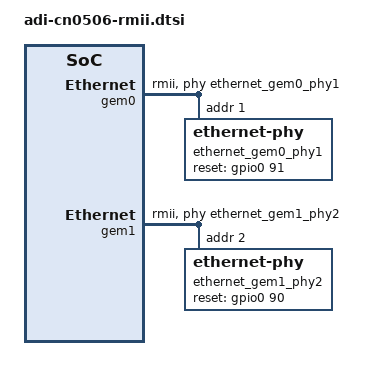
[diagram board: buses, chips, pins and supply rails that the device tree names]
#include <dt-bindings/gpio/gpio.h>

&gem0 {
	status = "okay";
	phy-mode = "rmii";
	phy-handle = <&ethernet_gem0_phy1>;
	/* Override compatible string to configure a MAC that works
	 * at 100 Mbit. Otherwise gigabit can be advertised by the
	 * PHY after matching MAC link caps with PHY link caps,
	 * even though, the design won't be able to actually support it
	 */
	compatible = "cdns,macb";

	clocks = <&clkc 30>, <&fmc_mii_clk1>, <&clkc 13>;
	clock-names = "pclk", "hclk", "tx_clk";

	ethernet_gem0_phy1: ethernet-phy@1 {
		reg = <1>;
		reset-gpios = <&gpio0 91 GPIO_ACTIVE_HIGH>;
		reset-assert-us = <20>; /* 10 us minimum */
		reset-deassert-us = <10000>; /* 5 ms minimum */
	};
};

&gem1 {
	status = "okay";
	phy-mode = "rmii";
	phy-handle = <&ethernet_gem1_phy2>;
	/* Override compatible string to configure a MAC that works
	 * at 100 Mbit. Otherwise gigabit can be advertised by the
	 * PHY after matching MAC link caps with PHY link caps,
	 * even though, the design won't be able to actually support it
	 */
	compatible = "cdns,macb";

	clocks = <&clkc 31>, <&fmc_mii_clk2>, <&clkc 14>;
	clock-names = "pclk", "hclk", "tx_clk";

	ethernet_gem1_phy2: ethernet-phy@2 {
		reg = <2>;
		reset-gpios = <&gpio0 90 GPIO_ACTIVE_HIGH>;
		reset-assert-us = <20>; /* 10 us minimum */
		reset-deassert-us = <10000>; /* 5 ms minimum */
	};
};
